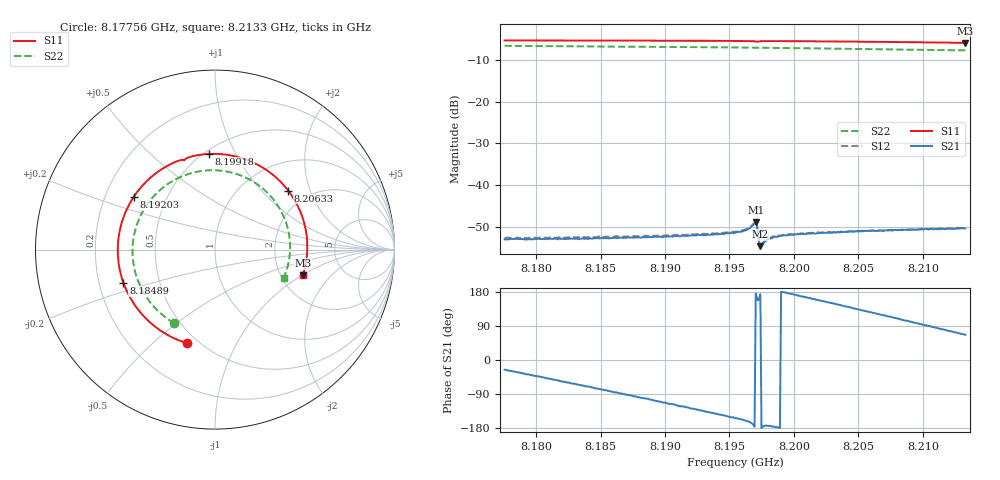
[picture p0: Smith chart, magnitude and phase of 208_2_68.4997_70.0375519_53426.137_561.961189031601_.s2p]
#  HZ  S  RI  R  50.00
! Rohde & Schwarz Vector Network Analyzer
! Rohde-Schwarz,ZNB20-2Port,1311601062101988,3.16
! Created: UTC 3/20/2024, 4:57:55 PM
! freq[Hz]  re:S11  im:S11  re:S21  im:S21  re:S12  im:S12  re:S22  im:S22
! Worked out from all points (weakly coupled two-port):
!   401 points, 8.17756 GHz to 8.2133 GHz, reference 50 ohm
!   highest |S21| = -48.96 dB at 8.19704 GHz (marker M1); lowest = -54.7 dB at 8.19739 GHz (marker M2)
!   lowest |S11| = -5.9 dB at 8.2133 GHz (marker M3), VSWR 3.08, Z = 131 - j50.8 ohm
!   |S11| at or under -10 dB: nowhere
!   |S22| runs from -7.7 to -6.6 dB; largest |S21 - S12| = 0.00019
!   S11 on the Smith chart (normalised r, x): 8.17756 GHz: 0.44, -0.65; 8.18489 GHz: 0.30, -0.16; 8.19203 GHz: 0.32, +0.27; 8.19918 GHz: 0.53, +0.79; 8.20633 GHz: 1.58, +1.43; 8.2133 GHz: 2.63, -1.02
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8.177562e9  -0.1546 -0.5218  0.00201 -0.000963  0.00208 -0.00101  -0.2262 -0.4105
8.180331e9  -0.3243 -0.4364  0.00161 -0.00156  0.00168 -0.00165  -0.3457 -0.312
8.183548e9  -0.471 -0.2704  0.000896 -0.0021  0.000867 -0.00217  -0.4349 -0.1573
8.184888e9  -0.5099 -0.1858  0.000549 -0.00222  0.000555 -0.00235  -0.4532 -0.0853
8.18721e9  -0.5413 -0.0273  -0.000133 -0.00236  -0.000194 -0.0024  -0.4567 0.0433
8.189533e9  -0.5243 0.1334  -0.000792 -0.00225  -0.000855 -0.00229  -0.4242 0.1676
8.192035e9  -0.4533 0.2931  -0.00153 -0.00196  -0.00159 -0.00198  -0.3519 0.2856
8.195429e9  -0.2822 0.4574  -0.00238 -0.0012  -0.00248 -0.00117  -0.2024 0.4
8.196233e9  -0.2314 0.4841  -0.0027 -0.000981  -0.00279 -0.000916  -0.1606 0.4173
8.196859e9  -0.1873 0.4994  -0.0033 -0.000517  -0.00341 -0.00039  -0.1271 0.4275
8.196948e9  -0.1805 0.5  -0.00349 -0.000244  -0.00354 -7.48e-05  -0.1222 0.4287
8.197038e9  -0.174 0.4991  -0.00355 0.000293  -0.00356 0.000455  -0.1172 0.4298
8.197395e9  -0.1609 0.5075  -0.00183 0.000217  -0.00188 0.000285  -0.0979 0.4341
8.197484e9  -0.1546 0.5107  -0.0019 -1.28e-05  -0.00195 7.01e-05  -0.0929 0.4352
8.19811e9  -0.1098 0.5236  -0.00226 -0.000244  -0.00231 -0.000162  -0.0579 0.4401
8.199182e9  -0.0338 0.533  -0.00249 4.05e-05  -0.0025 0.00014  0.00282 0.442
8.201415e9  0.1229 0.517  -0.0025 0.000863  -0.00248 0.000907  0.1273 0.4187
8.203738e9  0.2731 0.4521  -0.00221 0.00161  -0.00215 0.00171  0.2452 0.3568
8.206329e9  0.4081 0.3286  -0.00153 0.00237  -0.00147 0.00244  0.3486 0.2475
8.207401e9  0.4499 0.2649  -0.0012 0.00262  -0.00111 0.00264  0.3792 0.1921
8.210349e9  0.5119 0.0654  -3.25e-05 0.00295  4.67e-05 0.00296  0.4185 0.0207
8.213297e9  0.4888 -0.1433  0.00119 0.00277  0.00129 0.00276  0.3837 -0.1557
